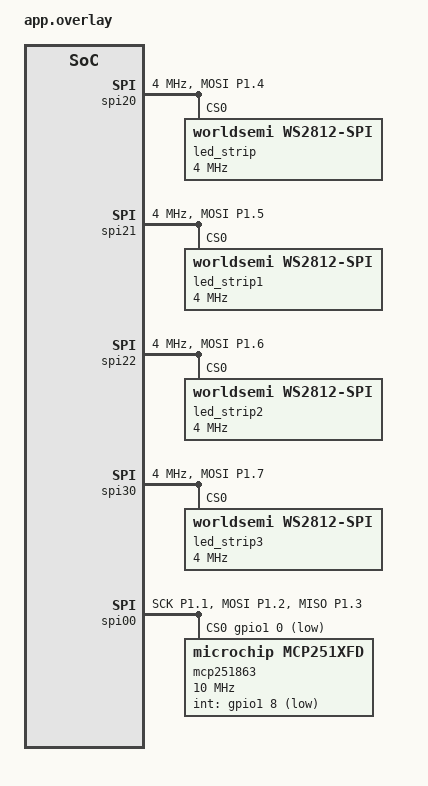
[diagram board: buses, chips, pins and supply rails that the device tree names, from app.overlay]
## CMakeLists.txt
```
# SPDX-License-Identifier: BSD-3-Clause

cmake_minimum_required(VERSION 3.20.0)
find_package(Zephyr REQUIRED HINTS $ENV{ZEPHYR_BASE})
project(study-ZephyrCAN)

target_sources(app PRIVATE src/main.c)
```

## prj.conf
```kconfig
#
# Copyright (c) 2021 Nordic Semiconductor
#
# SPDX-License-Identifier: LicenseRef-Nordic-5-Clause
#

####################
# Build
####################
CONFIG_CPP=n
CONFIG_DEBUG_OPTIMIZATIONS=n
CONFIG_SIZE_OPTIMIZATIONS=y
CONFIG_PICOLIBC=y
CONFIG_TIMEOUT_64BIT=n
CONFIG_FPU=y
CONFIG_COMPILER_OPT="-D_DEFAULT_SOURCE -DMRBC_SCHEDULER_EXIT=1 -DMRBC_USE_FLOAT=1 -DMRBC_USE_MATH=1 -DMAX_VM_COUNT=5" # mruby/c VM settings

####################
# Bluetooth LE
####################
CONFIG_BT=y
CONFIG_BT_PERIPHERAL=y
CONFIG_BT_DEVICE_NAME="OpenBlink"
CONFIG_BT_DEVICE_NAME_DYNAMIC=y
CONFIG_BT_CTLR_TX_PWR_PLUS_8=y
CONFIG_BT_SETTINGS=y
CONFIG_BT_MAX_CONN=1
CONFIG_BT_MAX_PAIRED=1

# Security Manager Protocol
CONFIG_BT_SMP=y
CONFIG_BT_SMP_SC_PAIR_ONLY=n

CONFIG_BT_BONDABLE=n
CONFIG_BT_CENTRAL=n
CONFIG_BT_GATT_DYNAMIC_DB=y
CONFIG_BT_ATT_PREPARE_COUNT=2
CONFIG_BT_PRIVACY=y
CONFIG_BT_CTLR_PRIVACY=y
CONFIG_BT_TRANSMIT_POWER_CONTROL=y
CONFIG_BT_SCA_UPDATE=y

CONFIG_BT_USER_DATA_LEN_UPDATE=y
CONFIG_BT_USER_PHY_UPDATE=y
CONFIG_BT_GAP_AUTO_UPDATE_CONN_PARAMS=n

CONFIG_NET_BUF=y
CONFIG_STREAM_FLASH=y

# MTU exchange is handled directly in ble.c using bt_gatt_exchange_mtu()
CONFIG_BT_L2CAP_TX_MTU=498
CONFIG_BT_BUF_ACL_TX_SIZE=251
CONFIG_BT_BUF_ACL_RX_SIZE=502
CONFIG_BT_CTLR_DATA_LENGTH_MAX=251

CONFIG_BT_CTLR_PHY_2M=y
CONFIG_BT_CTLR_PHY_CODED=y
CONFIG_BT_CTLR_SDC_MAX_CONN_EVENT_LEN_DEFAULT=4000000

CONFIG_BT_GATT_CLIENT=y
CONFIG_BT_GATT_DM=y

####################
# Flash (ZMS storage, Settings storage)
####################
CONFIG_FLASH=y
CONFIG_FLASH_PAGE_LAYOUT=y
CONFIG_FLASH_MAP=y
CONFIG_ZMS=y
CONFIG_ZMS_DATA_CRC=y
CONFIG_SETTINGS=y
CONFIG_SETTINGS_ZMS=y
CONFIG_SETTINGS_ZMS_CUSTOM_SECTOR_COUNT=y
CONFIG_SETTINGS_ZMS_SECTOR_COUNT=8

####################
# Drivers and peripherals
####################
CONFIG_GPIO=y
CONFIG_SPI=y
CONFIG_LED_STRIP=y
CONFIG_WS2812_STRIP_SPI=y
CONFIG_REBOOT=y
CONFIG_CRC=y

####################
# Clock
####################
CONFIG_CLOCK_CONTROL_NRF_K32SRC_RC=y
CONFIG_CLOCK_CONTROL_NRF_K32SRC_XTAL=n
CONFIG_CLOCK_CONTROL_NRF_K32SRC_500PPM=y
CONFIG_CLOCK_CONTROL_NRF_K32SRC_SYNTH=n

####################
# Thread
####################
CONFIG_TIMESLICING=y
CONFIG_TIMESLICE_SIZE=10
CONFIG_TIMESLICE_PRIORITY=0

####################
# Memory protection
####################
CONFIG_ARM_MPU=y
CONFIG_THREAD_STACK_INFO=y
CONFIG_THREAD_CUSTOM_DATA=n

####################
# Security
####################
CONFIG_NRF_APPROTECT_USE_UICR=y
#CONFIG_NRF_APPROTECT_LOCK=y

####################
# HW ID
####################
CONFIG_HWINFO=y
CONFIG_HWINFO_NRF=y
CONFIG_HW_ID_LIBRARY=y
CONFIG_HW_ID_LIBRARY_SOURCE_DEVICE_ID=y

####################
# Version
# $ west bindesc dump build/merged.hex
# https://docs.zephyrproject.org/latest/develop/west/zephyr-cmds.html#west-bindesc
####################
CONFIG_BINDESC=y
CONFIG_BINDESC_DEFINE=y
CONFIG_BINDESC_DEFINE_VERSION=y
CONFIG_BINDESC_APP_VERSION_MAJOR=y
CONFIG_BINDESC_APP_VERSION_MINOR=y
CONFIG_BINDESC_APP_VERSION_PATCHLEVEL=y
CONFIG_BINDESC_APP_VERSION_STRING=y
CONFIG_BINDESC_DEFINE_BUILD_TIME=n
CONFIG_BINDESC_BUILD_DATE_TIME_STRING=n
CONFIG_BINDESC_BUILD_TIME_ALWAYS_REBUILD=n
CONFIG_BINDESC_KERNEL_VERSION_STRING=y
CONFIG_BINDESC_KERNEL_VERSION_MAJOR=y
CONFIG_BINDESC_KERNEL_VERSION_MINOR=y
CONFIG_BINDESC_KERNEL_VERSION_PATCHLEVEL=y
CONFIG_BOOT_BANNER=n
CONFIG_BOOT_DELAY=0

#########################
# DEBUG
####################
CONFIG_DEBUG=y
CONFIG_CONSOLE=y
CONFIG_UART_CONSOLE=n
CONFIG_STDOUT_CONSOLE=n
CONFIG_EARLY_CONSOLE=y
CONFIG_RTT_CONSOLE=y
CONFIG_USE_SEGGER_RTT=y
CONFIG_SEGGER_RTT_BUFFER_SIZE_UP=2048
CONFIG_PRINTK=y
#CONFIG_PRINTK_SYNC=y
CONFIG_REQUIRES_FLOAT_PRINTF=y
CONFIG_CBPRINTF_NANO=n
CONFIG_CBPRINTF_LIBC_SUBSTS=n

####################
# Logging
####################
CONFIG_LOG=y
CONFIG_LOG_MODE_MINIMAL=y
#CONFIG_LOG_MODE_DEFERRED=n
#CONFIG_LOG_MODE_IMMEDIATE=n
#CONFIG_LOG_MODE_OVERFLOW=y

CONFIG_LOG_OVERRIDE_LEVEL=0
# - 0 OFF, do not override
# - 1 ERROR, override to write LOG_LEVEL_ERR
# - 2 WARNING, override to write LOG_LEVEL_WRN
# - 3 INFO, override to write LOG_LEVEL_INFO
# - 4 DEBUG, override to write LOG_LEVEL_DBG

#########################
# Thread analyzer
####################
#CONFIG_THREAD_ANALYZER=y
#CONFIG_THREAD_ANALYZER_USE_PRINTK=y
#CONFIG_THREAD_ANALYZER_AUTO=y
#CONFIG_THREAD_ANALYZER_AUTO_INTERVAL=5
#CONFIG_THREAD_NAME=y

####################
# Disable Bluetooth features not needed
####################
#CONFIG_BT_DEBUG_NONE=y
#CONFIG_BT_ASSERT=n
#CONFIG_BT_DATA_LEN_UPDATE=n
#CONFIG_BT_PHY_UPDATE=n
#CONFIG_BT_GATT_CACHING=n
#CONFIG_BT_GATT_SERVICE_CHANGED=n
#CONFIG_BT_GAP_PERIPHERAL_PREF_PARAMS=n
#CONFIG_BT_SETTINGS_CCC_LAZY_LOADING=y
#CONFIG_BT_HCI_VS_EXT=n
CONFIG_BT_GATT_READ_MULTIPLE=n
CONFIG_BT_GATT_READ_MULT_VAR_LEN=n
CONFIG_BT_CTLR_LE_PING=n
CONFIG_BT_ATT_RETRY_ON_SEC_ERR=n
CONFIG_BT_GATT_AUTO_RESUBSCRIBE=n
CONFIG_BT_GATT_ENFORCE_SUBSCRIPTION=n

####################
# Reduce Bluetooth buffers
####################
#CONFIG_BT_BUF_EVT_DISCARDABLE_COUNT=1
#CONFIG_BT_BUF_EVT_DISCARDABLE_SIZE=43
#CONFIG_BT_BUF_EVT_RX_COUNT=2
#CONFIG_BT_CONN_TX_MAX=2
#CONFIG_BT_L2CAP_TX_BUF_COUNT=2
#CONFIG_BT_BUF_ACL_TX_COUNT=3
#CONFIG_BT_BUF_ACL_TX_SIZE=27

####################
# CAN FD (MCP251863 via SPI00)
####################
CONFIG_CAN=y
CONFIG_CAN_MCP251XFD_MAX_TX_QUEUE=8
CONFIG_CAN_MCP251XFD_RX_FIFO_ITEMS=16
CONFIG_CAN_MCP251XFD_INT_THREAD_STACK_SIZE=1536
CONFIG_CAN_MCP251XFD_INT_THREAD_PRIO=2
CONFIG_CAN_MCP251XFD_READ_CRC_RETRIES=5
CONFIG_CAN_DEFAULT_BITRATE=500000
```

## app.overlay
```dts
#include <zephyr/dt-bindings/led/led.h>

&pinctrl {
    /*
     * SPI00 pin configuration for MCP251863 CAN FD controller.
     * NOTE: Adjust pin assignments (SCK, MOSI, MISO) to match your
     *       actual hardware wiring.
     */
    spi00_default: spi00_default {
        group1 {
            psels = <NRF_PSEL(SPIM_SCK, 1, 1)>,
                    <NRF_PSEL(SPIM_MOSI, 1, 2)>,
                    <NRF_PSEL(SPIM_MISO, 1, 3)>;
        };
    };

    spi00_sleep: spi00_sleep {
        group1 {
            psels = <NRF_PSEL(SPIM_SCK, 1, 1)>,
                    <NRF_PSEL(SPIM_MOSI, 1, 2)>,
                    <NRF_PSEL(SPIM_MISO, 1, 3)>;
            low-power-enable;
        };
    };

    spi20_default: spi20_default {
        group1 {
            psels = <NRF_PSEL(SPIM_MOSI, 1, 4)>;
        };
    };

    spi20_sleep: spi20_sleep {
        group1 {
            psels = <NRF_PSEL(SPIM_MOSI, 1, 4)>;
            low-power-enable;
        };
    };

    spi21_default: spi21_default {
        group1 {
            psels = <NRF_PSEL(SPIM_MOSI, 1, 5)>;
        };
    };

    spi21_sleep: spi21_sleep {
        group1 {
            psels = <NRF_PSEL(SPIM_MOSI, 1, 5)>;
            low-power-enable;
        };
    };

    spi22_default: spi22_default {
        group1 {
            psels = <NRF_PSEL(SPIM_MOSI, 1, 6)>;
        };
    };

    spi22_sleep: spi22_sleep {
        group1 {
            psels = <NRF_PSEL(SPIM_MOSI, 1, 6)>;
            low-power-enable;
        };
    };

    spi30_default: spi30_default {
        group1 {
            psels = <NRF_PSEL(SPIM_MOSI, 1, 7)>;
        };
    };

    spi30_sleep: spi30_sleep {
        group1 {
            psels = <NRF_PSEL(SPIM_MOSI, 1, 7)>;
            low-power-enable;
        };
    };
};

&spi20 {
    compatible = "nordic,nrf-spim";
    status = "okay";
    pinctrl-0 = <&spi20_default>;
    pinctrl-1 = <&spi20_sleep>;
    pinctrl-names = "default", "sleep";
    clock-frequency = <4000000>;

    led_strip: ws2812@0 {
        compatible = "worldsemi,ws2812-spi";
        reg = <0>;
        spi-max-frequency = <4000000>;
        chain-length = <60>;
        spi-one-frame = <0x70>;
        spi-zero-frame = <0x40>;
        color-mapping = <LED_COLOR_ID_GREEN
        LED_COLOR_ID_RED
        LED_COLOR_ID_BLUE>;
    };
};

&spi21 {
    compatible = "nordic,nrf-spim";
    status = "okay";
    pinctrl-0 = <&spi21_default>;
    pinctrl-1 = <&spi21_sleep>;
    pinctrl-names = "default", "sleep";
    clock-frequency = <4000000>;

    led_strip1: ws2812@0 {
        compatible = "worldsemi,ws2812-spi";
        reg = <0>;
        spi-max-frequency = <4000000>;
        chain-length = <60>;
        spi-one-frame = <0x70>;
        spi-zero-frame = <0x40>;
        color-mapping = <LED_COLOR_ID_GREEN
        LED_COLOR_ID_RED
        LED_COLOR_ID_BLUE>;
    };
};

&spi22 {
    compatible = "nordic,nrf-spim";
    status = "okay";
    pinctrl-0 = <&spi22_default>;
    pinctrl-1 = <&spi22_sleep>;
    pinctrl-names = "default", "sleep";
    clock-frequency = <4000000>;

    led_strip2: ws2812@0 {
        compatible = "worldsemi,ws2812-spi";
        reg = <0>;
        spi-max-frequency = <4000000>;
        chain-length = <60>;
        spi-one-frame = <0x70>;
        spi-zero-frame = <0x40>;
        color-mapping = <LED_COLOR_ID_GREEN
        LED_COLOR_ID_RED
        LED_COLOR_ID_BLUE>;
    };
};

&spi30 {
    compatible = "nordic,nrf-spim";
    status = "okay";
    pinctrl-0 = <&spi30_default>;
    pinctrl-1 = <&spi30_sleep>;
    pinctrl-names = "default", "sleep";
    clock-frequency = <4000000>;

    led_strip3: ws2812@0 {
        compatible = "worldsemi,ws2812-spi";
        reg = <0>;
        spi-max-frequency = <4000000>;
        chain-length = <60>;
        spi-one-frame = <0x70>;
        spi-zero-frame = <0x40>;
        color-mapping = <LED_COLOR_ID_GREEN
        LED_COLOR_ID_RED
        LED_COLOR_ID_BLUE>;
    };
};

/*
 * MCP251863 CAN FD controller on SPI00.
 * NOTE: Verify cs-gpios and int-gpios pin assignments against your
 *       actual hardware schematic.
 */
&spi00 {
    compatible = "nordic,nrf-spim";
    status = "okay";
    pinctrl-0 = <&spi00_default>;
    pinctrl-1 = <&spi00_sleep>;
    pinctrl-names = "default", "sleep";
    cs-gpios = <&gpio1 0 GPIO_ACTIVE_LOW>;  /* Adjust to actual CS pin */

    mcp251863: mcp251863@0 {
        compatible = "microchip,mcp251xfd";
        reg = <0>;
        spi-max-frequency = <10000000>;  /* 10 MHz */
        int-gpios = <&gpio1 8 GPIO_ACTIVE_LOW>;  /* Adjust to actual INT pin; must not conflict with spi30/ws2812 on P1.7 */
        osc-freq = <40000000>;  /* 40 MHz external oscillator */
        bitrate = <500000>;
        sample-point = <875>;

        can-transceiver {
            max-bitrate = <1000000>;
        };
    };
};

/* Disable uart20 to avoid pin conflict with SPI00 */
&uart20 {
    status = "disabled";
};

&uart21 {
    status = "disabled";
};

/* Select the MCP251863 as the application CAN bus device */
/ {
    chosen {
        zephyr,canbus = &mcp251863;
    };
};
```

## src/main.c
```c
/* SPDX-License-Identifier: BSD-3-Clause */

/**
 * @file main.c
 * @brief CAN bus send/receive sample application for Zephyr RTOS.
 *
 * This application demonstrates CAN communication using the MCP251863
 * CAN FD controller connected via SPI. It periodically transmits CAN
 * frames and receives frames matching a configured filter, with full
 * error handling and bus-off recovery.
 *
 * Hardware: Seeed XIAO nRF54L15 + Microchip MCP251863
 */

#include <zephyr/kernel.h>
#include <zephyr/device.h>
#include <zephyr/drivers/can.h>
#include <zephyr/logging/log.h>
#include <stdint.h>
#include <string.h>

LOG_MODULE_REGISTER(can_sample, LOG_LEVEL_INF);

/* ------------------------------------------------------------------ */
/* Constants                                                          */
/* ------------------------------------------------------------------ */

/** CAN ID used for transmitted frames */
#define CAN_TX_MSG_ID            0x100

/** CAN ID to accept in the receive filter */
#define CAN_RX_FILTER_ID         0x200

/** Mask applied to the receive filter (exact match) */
#define CAN_RX_FILTER_MASK       0x7FF

/** Interval between consecutive transmissions [ms] */
#define CAN_TX_INTERVAL_MS       1000

/** Timeout waiting for a single CAN send to complete [ms] */
#define CAN_SEND_TIMEOUT_MS      100

/** Delay between initialisation retries [ms] */
#define CAN_INIT_RETRY_DELAY_MS  500

/** Maximum number of initialisation attempts */
#define CAN_INIT_MAX_RETRIES     10

/** Delay used during bus-off recovery sequence [ms] */
#define CAN_RECOVERY_DELAY_MS    1000

/** Maximum consecutive recovery failures before extending the delay */
#define CAN_RECOVERY_MAX_RETRIES 5

/** Extended delay after repeated recovery failures [ms] */
#define CAN_RECOVERY_BACKOFF_MS  5000

/** Number of data bytes in each transmitted frame (standard CAN maximum) */
#define CAN_TX_DATA_LEN          8

/** Number of successful TX frames between statistics log messages */
#define STATS_PRINT_INTERVAL     10

/** Log a warning after this many consecutive TX failures */
#define CAN_TX_ERR_BURST_THRESHOLD 5

/* ------------------------------------------------------------------ */
/* CAN device obtained from Devicetree                                */
/* ------------------------------------------------------------------ */

/* Compile-time check: ensure zephyr,canbus is defined in Devicetree */
#if !DT_HAS_CHOSEN(zephyr_canbus)
#error "Devicetree node 'zephyr,canbus' is not defined. " \
       "Check your board overlay or app.overlay."
#endif

/** CAN device selected via `chosen { zephyr,canbus }` in Devicetree */
static const struct device *const can_dev = DEVICE_DT_GET(DT_CHOSEN(zephyr_canbus));

/* ------------------------------------------------------------------ */
/* Synchronisation primitives                                         */
/* ------------------------------------------------------------------ */

/** Semaphore used to wait for TX completion inside the send helper */
static K_SEM_DEFINE(tx_sem, 0, 1);

/** Error status reported by the TX callback (written in callback context) */
static volatile int tx_callback_error;

/**
 * Generation counter for TX callback synchronisation.
 * Incremented before each can_send(); the callback checks whether its
 * generation still matches the current one and silently discards stale
 * completions (e.g. from a previously timed-out frame).
 */
static volatile uint32_t tx_generation;

/* ------------------------------------------------------------------ */
/* Statistics counters                                                 */
/* ------------------------------------------------------------------ */

/** Number of frames successfully transmitted */
static volatile uint32_t tx_count;

/** Number of frames received via the RX callback */
static volatile uint32_t rx_count;

/** Number of transmission errors */
static volatile uint32_t tx_error_count;

/** Tracks the current CAN controller error state */
static volatile enum can_state current_can_state = CAN_STATE_STOPPED;

/** Number of consecutive recovery failures (reset on success) */
static uint32_t recovery_fail_count;

/* ------------------------------------------------------------------ */
/* Forward declarations                                               */
/* ------------------------------------------------------------------ */

static void can_rx_callback(const struct device *dev,
                            struct can_frame *frame, void *user_data);
static void can_tx_callback(const struct device *dev, int error,
                            void *user_data);
static void can_state_change_callback(const struct device *dev,
                                      enum can_state state,
                                      struct can_bus_err_cnt err_cnt,
                                      void *user_data);

/* ------------------------------------------------------------------ */
/* Initialisation helpers                                             */
/* ------------------------------------------------------------------ */

/**
 * @brief Initialise the CAN device.
 *
 * Checks device readiness, registers the state-change callback, sets
 * the operating mode to normal, and starts the controller.  The start
 * step is retried up to @ref CAN_INIT_MAX_RETRIES times.
 *
 * @return 0 on success, negative errno on failure.
 */
static int can_device_init(void)
{
        int ret;

        /* Verify the CAN device is ready */
        if (!device_is_ready(can_dev)) {
                LOG_ERR("CAN device %s is not ready", can_dev->name);
                return -ENODEV;
        }
        LOG_INF("CAN device %s is ready", can_dev->name);

        /* Register state-change callback for error monitoring */
        can_set_state_change_callback(can_dev, can_state_change_callback, NULL);

        /* Set the CAN controller to normal operating mode */
        ret = can_set_mode(can_dev, CAN_MODE_NORMAL);
        if (ret != 0) {
                LOG_ERR("Failed to set CAN mode (err %d)", ret);
                return ret;
        }

        /* Start the CAN controller with retry logic */
        for (int attempt = 0; attempt < CAN_INIT_MAX_RETRIES; attempt++) {
                ret = can_start(can_dev);
                if (ret == 0) {
                        LOG_INF("CAN controller started successfully");
                        return 0;
                }
                LOG_WRN("CAN start attempt %d/%d failed (err %d)",
                        attempt + 1, CAN_INIT_MAX_RETRIES, ret);
                k_msleep(CAN_INIT_RETRY_DELAY_MS);
        }

        LOG_ERR("CAN controller failed to start after %d attempts",
                CAN_INIT_MAX_RETRIES);
        return ret;
}

/**
 * @brief Register the receive filter for incoming CAN frames.
 *
 * Adds a filter that matches standard CAN ID @ref CAN_RX_FILTER_ID
 * with mask @ref CAN_RX_FILTER_MASK, and binds it to
 * @ref can_rx_callback.
 *
 * @return Filter ID (>= 0) on success, negative errno on failure.
 */
static int can_setup_rx_filter(void)
{
        struct can_filter filter = {
                .flags = 0,  /* Standard (11-bit) ID filter */
                .id    = CAN_RX_FILTER_ID,
                .mask  = CAN_RX_FILTER_MASK,
        };

        int filter_id = can_add_rx_filter(can_dev, can_rx_callback,
                                          NULL, &filter);
        if (filter_id < 0) {
                LOG_ERR("Failed to add RX filter (err %d)", filter_id);
                return filter_id;
        }

        LOG_INF("RX filter added: ID=0x%03X mask=0x%03X (filter_id=%d)",
                CAN_RX_FILTER_ID, CAN_RX_FILTER_MASK, filter_id);
        return filter_id;
}

/* ------------------------------------------------------------------ */
/* Callbacks                                                          */
/* ------------------------------------------------------------------ */

/**
 * @brief Callback invoked when a CAN frame matching the RX filter
 *        is received.
 *
 * Runs in the MCP251XFD driver's interrupt-handler thread (not a
 * hardware ISR).  LOG_INF is safe here under all logging modes.
 *
 * @param dev       CAN device that received the frame.
 * @param frame     Pointer to the received CAN frame.
 * @param user_data User data (unused).
 */
static void can_rx_callback(const struct device *dev,
                            struct can_frame *frame, void *user_data)
{
        ARG_UNUSED(dev);
        ARG_UNUSED(user_data);

        if (frame == NULL) {
                LOG_ERR("RX callback: NULL frame pointer");
                return;
        }

        rx_count++;

        uint8_t len = can_dlc_to_bytes(frame->dlc);

        /* Clamp to standard CAN data length for safe array access */
        if (len > CAN_MAX_DLEN) {
                len = CAN_MAX_DLEN;
        }

        LOG_INF("RX: ID=0x%03X DLC=%u data=[%02X %02X %02X %02X %02X %02X %02X %02X]",
                frame->id, frame->dlc,
                (len > 0U) ? frame->data[0] : 0U,
                (len > 1U) ? frame->data[1] : 0U,
                (len > 2U) ? frame->data[2] : 0U,
                (len > 3U) ? frame->data[3] : 0U,
                (len > 4U) ? frame->data[4] : 0U,
                (len > 5U) ? frame->data[5] : 0U,
                (len > 6U) ? frame->data[6] : 0U,
                (len > 7U) ? frame->data[7] : 0U);
}

/**
 * @brief Callback invoked when a CAN transmission completes.
 *
 * Gives the TX semaphore so the blocking send helper can proceed.
 *
 * @param dev       CAN device that completed the send.
 * @param error     0 on success, negative errno on failure.
 * @param user_data TX generation counter cast to pointer.
 */
static void can_tx_callback(const struct device *dev, int error,
                            void *user_data)
{
        ARG_UNUSED(dev);

        uint32_t cb_gen = (uint32_t)(uintptr_t)user_data;

        /* Discard stale callbacks from a previously timed-out frame */
        if (cb_gen != tx_generation) {
                LOG_WRN("Stale TX callback (gen %u, expected %u) - discarded",
                        cb_gen, tx_generation);
                return;
        }

        tx_callback_error = error;

        if (error != 0) {
                LOG_ERR("TX callback error: %d", error);
        }

        k_sem_give(&tx_sem);
}

/**
 * @brief Callback invoked when the CAN controller changes error state.
 *
 * Logs the transition and updates @ref current_can_state.
 *
 * @param dev       CAN device whose state changed.
 * @param state     New CAN state.
 * @param err_cnt   Current TX/RX error counters.
 * @param user_data User data (unused).
 */
static void can_state_change_callback(const struct device *dev,
                                      enum can_state state,
                                      struct can_bus_err_cnt err_cnt,
                                      void *user_data)
{
        ARG_UNUSED(dev);
        ARG_UNUSED(user_data);

        static const char *const state_names[] = {
                [CAN_STATE_ERROR_ACTIVE]  = "Error Active",
                [CAN_STATE_ERROR_WARNING] = "Error Warning",
                [CAN_STATE_ERROR_PASSIVE] = "Error Passive",
                [CAN_STATE_BUS_OFF]       = "Bus Off",
                [CAN_STATE_STOPPED]       = "Stopped",
        };

        enum can_state prev = current_can_state;

        const char *name = (state < ARRAY_SIZE(state_names) &&
                            state_names[state] != NULL)
                           ? state_names[state]
                           : "Unknown";
        const char *prev_name = (prev < ARRAY_SIZE(state_names) &&
                                  state_names[prev] != NULL)
                                ? state_names[prev]
                                : "Unknown";

        LOG_WRN("CAN state: %s -> %s (TX err=%u, RX err=%u)",
                prev_name, name, err_cnt.tx_err_cnt, err_cnt.rx_err_cnt);

        current_can_state = state;
}

/* ------------------------------------------------------------------ */
/* TX helpers                                                         */
/* ------------------------------------------------------------------ */

/**
 * @brief Build a standard CAN TX frame.
 *
 * Constructs a CAN 2.0 frame with ID @ref CAN_TX_MSG_ID,
 * DLC = @ref CAN_TX_DATA_LEN, and embeds a rolling counter in the
 * first two data bytes.
 *
 * @param[out] frame   Pointer to the frame to populate.
 * @param      counter Rolling counter value to embed.
 */
static void can_build_tx_frame(struct can_frame *frame, uint16_t counter)
{
        __ASSERT_NO_MSG(frame != NULL);

        memset(frame, 0, sizeof(*frame));
        frame->id    = CAN_TX_MSG_ID;
        frame->dlc   = CAN_TX_DATA_LEN;
        frame->flags = 0;  /* Explicit: standard CAN 2.0 frame (redundant after memset, kept for clarity) */

        /* Bytes 0-1: rolling counter (big-endian) */
        frame->data[0] = (uint8_t)(counter >> 8);
        frame->data[1] = (uint8_t)(counter & 0xFF);
        /* Bytes 2-7: padding / reserved */
        frame->data[2] = 0xCA;
        frame->data[3] = 0xFE;
        frame->data[4] = 0xDE;
        frame->data[5] = 0xAD;
        frame->data[6] = 0xBE;
        frame->data[7] = 0xEF;
}

/**
 * @brief Send a CAN frame with a timeout.
 *
 * Calls can_send() with @ref can_tx_callback, then blocks on the TX
 * semaphore for up to @ref CAN_SEND_TIMEOUT_MS milliseconds.
 *
 * If the semaphore times out, the frame may still be pending in the
 * driver's TX queue.  A generation counter is used so that any late
 * callback from a timed-out frame is safely discarded.
 *
 * @note This function is NOT thread-safe. It must only be called from
 *       a single thread context (the main thread in this application).
 *
 * @param frame Pointer to the CAN frame to transmit.
 * @return 0 on success, -EINVAL if @p frame is NULL,
 *         -EAGAIN on timeout, or another negative errno on failure.
 */
static int can_send_frame_with_timeout(struct can_frame *frame)
{
        int ret;

        if (frame == NULL) {
                return -EINVAL;
        }

        /* Advance generation so any stale callback is discarded */
        tx_generation++;

        /* Reset semaphore and callback error before sending */
        k_sem_reset(&tx_sem);
        tx_callback_error = 0;

        ret = can_send(can_dev, frame, K_NO_WAIT,
                       can_tx_callback,
                       (void *)(uintptr_t)tx_generation);
        if (ret != 0) {
                LOG_ERR("can_send() failed (err %d)", ret);
                tx_error_count++;
                return ret;
        }

        /* Wait for the TX callback to signal completion */
        ret = k_sem_take(&tx_sem, K_MSEC(CAN_SEND_TIMEOUT_MS));
        if (ret != 0) {
                LOG_ERR("TX completion timed out");
                tx_error_count++;
                return ret;
        }

        /* Check whether the callback reported an error */
        if (tx_callback_error != 0) {
                tx_error_count++;
                return tx_callback_error;
        }

        tx_count++;
        return 0;
}

/* ------------------------------------------------------------------ */
/* Controller recovery                                                */
/* ------------------------------------------------------------------ */

/**
 * @brief Attempt to recover the CAN controller.
 *
 * Called when the controller is in bus-off or stopped state.
 * Stops the controller (tolerating -EALREADY if already stopped),
 * waits, then restarts it.
 *
 * The wait duration uses a two-level backoff: the first
 * @ref CAN_RECOVERY_MAX_RETRIES attempts wait @ref CAN_RECOVERY_DELAY_MS;
 * subsequent attempts wait @ref CAN_RECOVERY_BACKOFF_MS.  The failure
 * counter is reset to zero on a successful recovery.
 *
 * @return 0 on success, negative errno on failure.
 */
static int can_recover_controller(void)
{
        int ret;
        uint32_t delay;

        if (recovery_fail_count < UINT32_MAX) {
                recovery_fail_count++;
        }

        if (recovery_fail_count > CAN_RECOVERY_MAX_RETRIES) {
                delay = CAN_RECOVERY_BACKOFF_MS;
                LOG_WRN("Recovery attempt %u (backoff %u ms)",
                        recovery_fail_count, delay);
        } else {
                delay = CAN_RECOVERY_DELAY_MS;
                LOG_WRN("Attempting CAN controller recovery (%u/%u)...",
                        recovery_fail_count, CAN_RECOVERY_MAX_RETRIES);
        }

        ret = can_stop(can_dev);
        if (ret != 0 && ret != -EALREADY) {
                LOG_ERR("can_stop() failed during recovery (err %d)", ret);
                return ret;
        }

        k_msleep(delay);

        ret = can_start(can_dev);
        if (ret != 0) {
                LOG_ERR("can_start() failed during recovery (err %d)", ret);
                return ret;
        }

        LOG_INF("CAN controller recovery succeeded after %u attempt(s)",
                recovery_fail_count);
        recovery_fail_count = 0;
        return 0;
}

/* ------------------------------------------------------------------ */
/* Main                                                               */
/* ------------------------------------------------------------------ */

/**
 * @brief Application entry point.
 *
 * 1. Initialises the CAN device (retries handled internally).
 * 2. Registers the RX filter.
 * 3. Enters a 1-second periodic TX loop that:
 *    - Handles bus-off recovery when detected.
 *    - Builds and transmits a CAN frame.
 *    - Prints statistics every 10 frames.
 *
 * @return Does not return under normal operation.
 */
int main(void)
{
        int ret;
        uint16_t counter = 0;
        uint32_t last_stats_tx_count = 0;
        uint32_t consecutive_tx_errors = 0;
        struct can_frame tx_frame;

        LOG_INF("CAN sample application starting...");

        /* ----- Initialise CAN device (retries handled inside) ----- */
        ret = can_device_init();
        if (ret != 0) {
                LOG_ERR("CAN initialisation failed - halting");
                goto halt;
        }
        current_can_state = CAN_STATE_ERROR_ACTIVE;

        /* ----- Register RX filter ----- */
        ret = can_setup_rx_filter();
        if (ret < 0) {
                LOG_ERR("RX filter setup failed - halting");
                goto halt;
        }

        LOG_INF("Entering main TX loop (interval=%d ms)", CAN_TX_INTERVAL_MS);

        /* ----- Main TX loop ----- */
        while (1) {
                k_msleep(CAN_TX_INTERVAL_MS);

                /* Snapshot the current CAN state for this iteration */
                enum can_state state_snapshot = current_can_state;

                /* Handle bus-off or stopped condition */
                if (state_snapshot == CAN_STATE_BUS_OFF ||
                    state_snapshot == CAN_STATE_STOPPED) {
                        ret = can_recover_controller();
                        if (ret != 0) {
                                LOG_ERR("Controller recovery failed; retrying next cycle");
                                continue;
                        }
                }

                /* Build and send a CAN frame */
                can_build_tx_frame(&tx_frame, counter);

                ret = can_send_frame_with_timeout(&tx_frame);
                if (ret == 0) {
                        LOG_INF("TX: ID=0x%03X counter=%u", CAN_TX_MSG_ID, counter);
                        counter++;
                        consecutive_tx_errors = 0;
                } else {
                        consecutive_tx_errors++;
                        LOG_ERR("TX failed (err %d, consecutive=%u)",
                                ret, consecutive_tx_errors);
                        if (consecutive_tx_errors > 0U &&
                            (consecutive_tx_errors % CAN_TX_ERR_BURST_THRESHOLD) == 0U) {
                                LOG_WRN("TX error burst: %u consecutive failures",
                                        consecutive_tx_errors);
                        }
                }

                /* Print statistics every STATS_PRINT_INTERVAL successful frames */
                uint32_t tx_snap = tx_count;

                if (tx_snap > 0U &&
                    (tx_snap % STATS_PRINT_INTERVAL) == 0U &&
                    tx_snap != last_stats_tx_count) {
                        last_stats_tx_count = tx_snap;
                        LOG_INF("Stats: TX=%u RX=%u TX_ERR=%u",
                                tx_snap, rx_count, tx_error_count);
                }
        }

halt:
        LOG_ERR("Fatal error (err %d) - system halted", ret);
        while (1) {
                k_msleep(1000);
        }
        return 0; /* unreachable */
}
```
